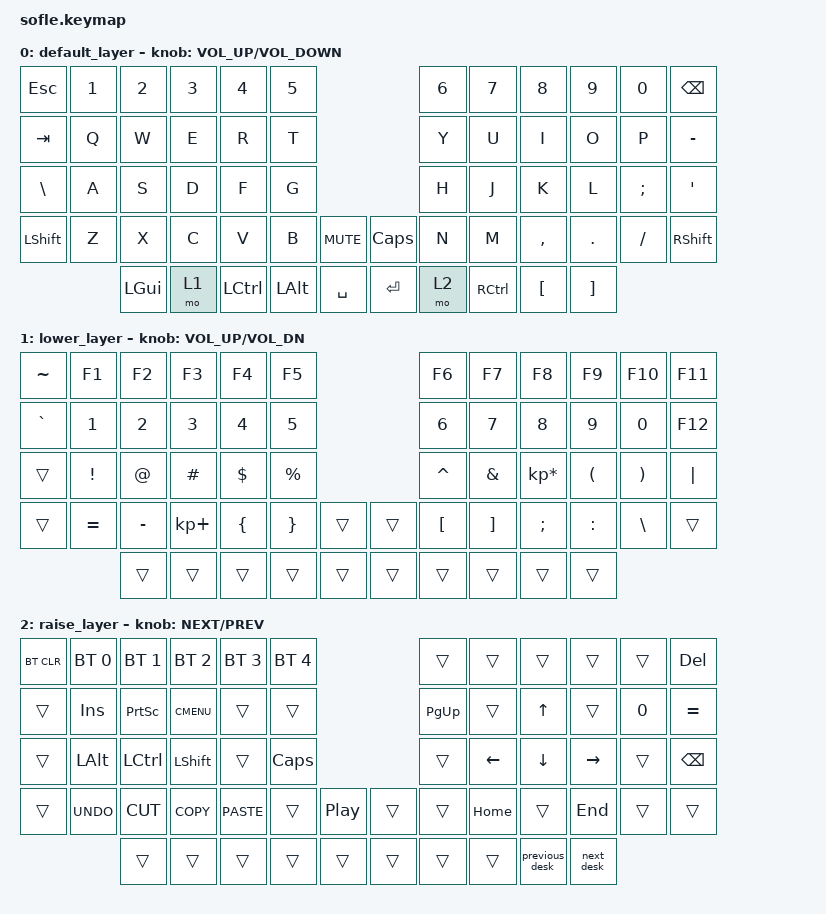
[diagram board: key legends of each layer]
/*
 * Copyright (c) 2020 The ZMK Contributors
 *
 * SPDX-License-Identifier: MIT
 */

#include <behaviors.dtsi>
#include <dt-bindings/zmk/keys.h>
#include <dt-bindings/zmk/bt.h>

/ {
    macros {
        previous_desk: previous_desk {
            label = "previous_desk";
            compatible = "zmk,behavior-macro";
            #binding-cells = <0>;
            bindings
                = <&macro_press &kp LGUI &kp LCTRL &kp LEFT>
                , <&macro_pause_for_release>
                , <&macro_release &kp LGUI &kp LCTRL &kp LEFT>
                ;
        };
        next_desk: next_desk {
            label = "next_desk";
            compatible = "zmk,behavior-macro";
            #binding-cells = <0>;
            bindings
                = <&macro_press &kp LGUI &kp LCTRL &kp RIGHT>
                , <&macro_pause_for_release>
                , <&macro_release &kp LGUI &kp LCTRL &kp RIGHT>
                ;
        };
    };
};


/ {
    keymap {
        compatible = "zmk,keymap";

        default_layer {
// ------------------------------------------------------------------------------------------------------------
// |  ESC  |  1  |  2  |  3   |  4   |  5   |                    |  6   |  7    |  8    |  9   |   0   | BKSPC |
// |  TAB  |  Q  |  W  |  E   |  R   |  T   |                    |  Y   |  U    |  I    |  O   |   P   | MINUS |
// |  BSLH  |  A  |  S  |  D   |  F   |  G   |                   |  H   |  J    |  K    |  L   |   ;   |   '   |
// | SHIFT |  Z  |  X  |  C   |  V   |  B   |  MUTE  |  |   CAPSLOCK    |  N   |  M    |  ,    |  .   |   /   | SHIFT |
//               | GUI | LOWER  | CTRL | ALT|  SPACE |  |     ENTER     | RAISE| CTRL  |  [    |   ]  |
            bindings = <
&kp ESC &kp N1 &kp N2   &kp N3   &kp N4    &kp N5                      &kp N6 &kp N7    &kp N8    &kp N9   &kp N0   &kp BSPC
&kp TAB   &kp Q  &kp W    &kp E    &kp R     &kp T                       &kp Y  &kp U     &kp I     &kp O    &kp P    &kp MINUS
&kp BSLH   &kp A  &kp S    &kp D    &kp F     &kp G                       &kp H  &kp J     &kp K     &kp L    &kp SEMI &kp SQT
&kp LSHFT &kp Z  &kp X    &kp C    &kp V     &kp B  &kp C_MUTE &kp CAPSLOCK     &kp N  &kp M     &kp COMMA &kp DOT  &kp FSLH &kp RSHFT
                 &kp LGUI &mo 1 &kp LCTRL &kp LALT  &kp SPACE    &kp RET &mo 2  &kp RCTRL &kp LEFT_BRACKET  &kp RIGHT_BRACKET
            >;

            sensor-bindings = <&inc_dec_kp C_VOLUME_UP C_VOLUME_DOWN>;
        };

        lower_layer {
// TODO: Some binds are waiting for shifted keycode support.
// ------------------------------------------------------------------------------------------------------------
// | TILDE |  F1 |  F2 |  F3  |  F4  |  F5  |                   |  F6  |  F7   |  F8   |  F9  |  F10  |  F11  |
// | `     |   1 |   2 |   3  |   4  |   5  |                   |   6  |   7   |   8   |   9  |    0  |  F12  |
// |       |  !  |  @  |  #   |  $   |  %   |                   |  ^   |  &    |  *    |  (   |   )   |   |   |
// |       |  =  |  -  |  +   |  {   |  }   |        |  |       |  [   |  ]    |  ;    |  :   |   \   |       |
//               |     |      |      |      |        |  |       |      |       |       |      |
            bindings = <
&kp TILDE &kp F1    &kp F2    &kp F3      &kp F4    &kp F5                    &kp F6    &kp F7   &kp F8          &kp F9    &kp F10   &kp F11
&kp GRAVE &kp N1    &kp N2    &kp N3      &kp N4    &kp N5                    &kp N6    &kp N7   &kp N8          &kp N9    &kp N0    &kp F12
&trans    &kp EXCL  &kp AT    &kp HASH    &kp DLLR  &kp PRCNT                 &kp CARET &kp AMPS &kp KP_MULTIPLY &kp LPAR  &kp RPAR  &kp PIPE
&trans    &kp EQUAL &kp MINUS &kp KP_PLUS &kp LBRC  &kp RBRC  &trans   &trans &kp LBKT  &kp RBKT &kp SEMI        &kp COLON &kp BSLH  &trans
                    &trans    &trans      &trans    &trans    &trans   &trans &trans    &trans   &trans          &trans
            >;

            sensor-bindings = <&inc_dec_kp C_VOL_UP C_VOL_DN>;
        };

        raise_layer {
// ------------------------------------------------------------------------------------------------------------
// |BTCLR| BT1  | BT2  |  BT3  |  BT4  |  BT5 |                                      |      |      |       |       |       | DELETE|
// |     | INS  | PSCR | GUI   |       |      |                                      | PGUP |      |   ^   |       |       | EQUAL |
// |     | ALT  | CTRL | SHIFT |       | CAPS |                                      |      |   <- |   v   |  ->   |       | BKSPC |
// |     | UNDO | CUT  | COPY  | PASTE |      |   C_PLAY_PAUSE   |  |                |      | HOME |       |  END  |       |       |
//              |      |       |       |      |                  |  |                |      |      |MP_DESK|MN_DESK|
            bindings = <
&bt BT_CLR &bt BT_SEL 0 &bt BT_SEL 1 &bt BT_SEL 2 &bt BT_SEL 3 &bt BT_SEL 4             &trans    &trans    &trans   &trans    &trans  &kp DELETE
&trans     &kp INS      &kp PSCRN    &kp K_CMENU  &trans       &trans                   &kp PG_UP &trans    &kp UP   &trans    &kp N0  &kp EQUAL
&trans     &kp LALT     &kp LCTRL    &kp LSHFT    &trans       &kp CLCK                 &trans    &kp LEFT  &kp DOWN &kp RIGHT &trans  &kp BSPC
&trans     &kp K_UNDO   &kp K_CUT    &kp K_COPY   &kp K_PASTE  &trans  &kp C_PLAY_PAUSE   &trans  &trans    &kp HOME  &trans   &kp END    &trans  &trans
                        &trans       &trans       &trans       &trans  &trans   &trans  &trans    &trans    &previous_desk   &next_desk
            >;

            sensor-bindings = <&inc_dec_kp C_NEXT C_PREV>;
        };
    };
};
